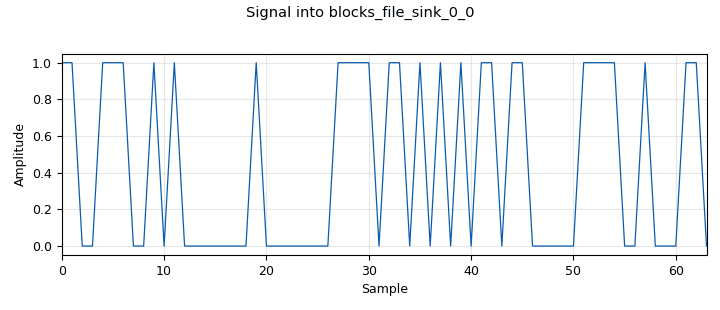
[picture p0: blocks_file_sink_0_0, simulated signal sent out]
<?xml version='1.0' encoding='utf-8'?>
<flow_graph>
<block>
<key>variable</key>
<param><key>id</key><value>sigma</value></param>
<param><key>value</key><value>0.3</value></param>
</block>
<block>
<key>variable</key>
<param><key>id</key><value>samp_rate</value></param>
<param><key>value</key><value>32000</value></param>
</block>
<block>
<key>variable</key>
<param><key>id</key><value>alist_file</value></param>
<param><key>value</key><value>"/home/manu/repos/ldpc/gr-ldpc/python/alist-files"</value></param>
</block>
<block>
<key>variable</key>
<param><key>id</key><value>max_iterations</value></param>
<param><key>value</key><value>50</value></param>
</block>
<block>
<key>blocks_file_source</key>
<param><key>id</key><value>blocks_file_source_0</value></param>
<param><key>_enabled</key><value>False</value></param>
<param><key>file</key><value>/home/manu/Downloads/in.flac</value></param>
<param><key>type</key><value>byte</value></param>
<param><key>repeat</key><value>False</value></param>
</block>
<block>
<key>blocks_packed_to_unpacked_xx</key>
<param><key>id</key><value>blocks_packed_to_unpacked_xx_0</value></param>
<param><key>_enabled</key><value>False</value></param>
<param><key>type</key><value>byte</value></param>
<param><key>bits_per_chunk</key><value>1</value></param>
<param><key>endianness</key><value>gr.GR_MSB_FIRST</value></param>
</block>
<block>
<key>blocks_unpacked_to_packed_xx</key>
<param><key>id</key><value>blocks_unpacked_to_packed_xx_0</value></param>
<param><key>_enabled</key><value>False</value></param>
<param><key>type</key><value>byte</value></param>
<param><key>bits_per_chunk</key><value>1</value></param>
<param><key>endianness</key><value>gr.GR_MSB_FIRST</value></param>
</block>
<block>
<key>ldpc_ldpc_hier_decoder_fb</key>
<param><key>id</key><value>ldpc_ldpc_hier_decoder_fb_0</value></param>
<param><key>alist_file</key><value>alist_file</value></param>
<param><key>sigma</key><value>sigma</value></param>
<param><key>max_iterations</key><value>max_iterations</value></param>
</block>
<block>
<key>blocks_file_sink</key>
<param><key>id</key><value>blocks_file_sink_0</value></param>
<param><key>file</key><value>/home/manu/Downloads/out</value></param>
<param><key>type</key><value>byte</value></param>
</block>
<block>
<key>blocks_file_sink</key>
<param><key>id</key><value>blocks_file_sink_0_0</value></param>
<param><key>file</key><value>/home/manu/Downloads/in</value></param>
<param><key>type</key><value>byte</value></param>
</block>
<block>
<key>analog_random_source_x</key>
<param><key>id</key><value>analog_random_source_x_0</value></param>
<param><key>type</key><value>byte</value></param>
<param><key>min</key><value>0x00</value></param>
<param><key>max</key><value>0x02</value></param>
<param><key>num_samps</key><value>1000</value></param>
<param><key>repeat</key><value>True</value></param>
</block>
<block>
<key>ldpc_ldpc_hier_encoder_bf</key>
<param><key>id</key><value>ldpc_ldpc_hier_encoder_bf_0</value></param>
<param><key>alist_file</key><value>alist_file</value></param>
</block>
<block>
<key>options</key>
<param><key>id</key><value>example1</value></param>
<param><key>author</key><value>Manu T S</value></param>
<param><key>generate_options</key><value>wx_gui</value></param>
<param><key>category</key><value>Custom</value></param>
</block>
<connection><source_block_id>ldpc_ldpc_hier_encoder_bf_0</source_block_id><sink_block_id>ldpc_ldpc_hier_decoder_fb_0</sink_block_id><source_key>0</source_key><sink_key>0</sink_key></connection>
<connection><source_block_id>blocks_file_source_0</source_block_id><sink_block_id>blocks_packed_to_unpacked_xx_0</sink_block_id><source_key>0</source_key><sink_key>0</sink_key></connection>
<connection><source_block_id>blocks_packed_to_unpacked_xx_0</source_block_id><sink_block_id>ldpc_ldpc_hier_encoder_bf_0</sink_block_id><source_key>0</source_key><sink_key>0</sink_key></connection>
<connection><source_block_id>ldpc_ldpc_hier_decoder_fb_0</source_block_id><sink_block_id>blocks_unpacked_to_packed_xx_0</sink_block_id><source_key>0</source_key><sink_key>0</sink_key></connection>
<connection><source_block_id>blocks_unpacked_to_packed_xx_0</source_block_id><sink_block_id>blocks_file_sink_0</sink_block_id><source_key>0</source_key><sink_key>0</sink_key></connection>
<connection><source_block_id>analog_random_source_x_0</source_block_id><sink_block_id>ldpc_ldpc_hier_encoder_bf_0</sink_block_id><source_key>0</source_key><sink_key>0</sink_key></connection>
<connection><source_block_id>ldpc_ldpc_hier_decoder_fb_0</source_block_id><sink_block_id>blocks_file_sink_0</sink_block_id><source_key>0</source_key><sink_key>0</sink_key></connection>
<connection><source_block_id>analog_random_source_x_0</source_block_id><sink_block_id>blocks_file_sink_0_0</sink_block_id><source_key>0</source_key><sink_key>0</sink_key></connection>
</flow_graph>
